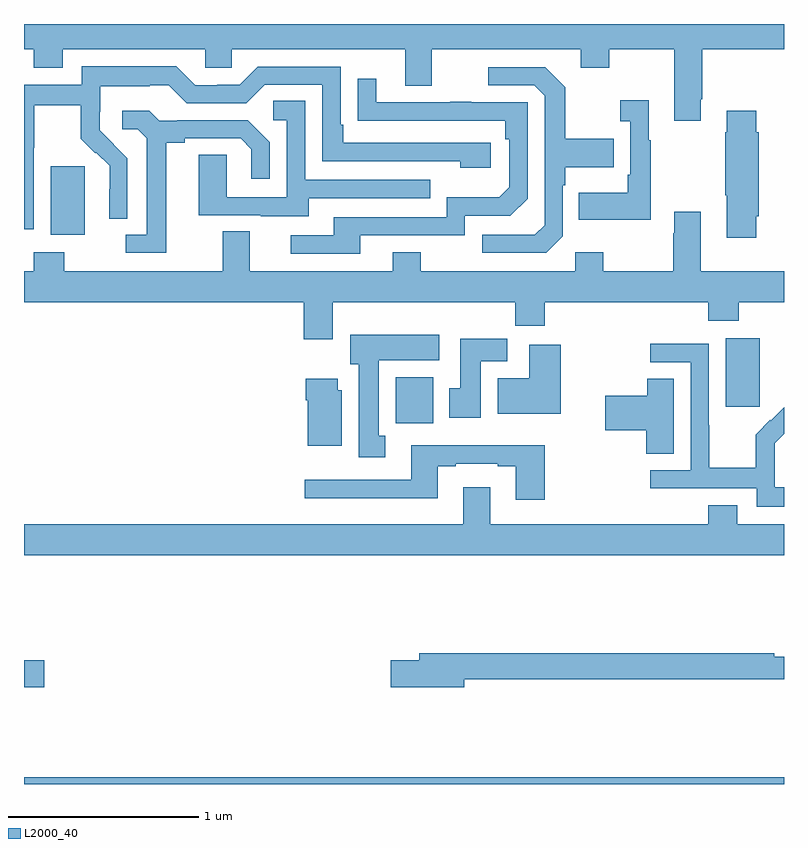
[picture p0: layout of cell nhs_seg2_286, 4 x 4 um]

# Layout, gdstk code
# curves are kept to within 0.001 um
import gdstk
lib = gdstk.Library(unit=1e-6, precision=1e-09)
def R(c, l, rs):  # rectangles x0, y0, x1, y1
    for r in rs: c.add(gdstk.rectangle(r[:2], r[2:], *l))
def P(c, l, *ps):  # polygons
    for p in ps: c.add(gdstk.Polygon(p, *l))
L2000_40 = (2000, 40)

nhs_seg2_286 = lib.new_cell('nhs_seg2_286')
R(nhs_seg2_286, L2000_40, [(125,611.8,129,611.836), (125,612.31,125.107,612.452), (126.956,613.7,127.153,613.942), (128.693,613.785,128.872,614.146), (125.141,614.69,125.32,615.051)])
P(nhs_seg2_286, L2000_40, [(128.563,615.403),(128.571,615.403),(128.571,615.668),(129,615.668),(129,615.8),(125,615.8),(125,615.668),(125.051,615.668),(125.051,615.569),(125.203,615.569),(125.203,615.668),(125.955,615.668),(125.955,615.57),(126.093,615.57),(126.093,615.668),(127.007,615.668),(127.007,615.474),(127.147,615.474),(127.147,615.668),(127.931,615.668),(127.931,615.569),(128.079,615.569),(128.079,615.668),(128.423,615.668),(128.423,615.291),(128.563,615.291)],
  [(125.052,615.148),(125.055,615.148),(125.055,615.372),(125.299,615.372),(125.299,615.197),(125.376,615.12),(125.379,615.123),(125.45,615.053),(125.45,614.93),(125.448,614.93),(125.448,614.776),(125.544,614.776),(125.544,615.094),(125.398,615.242),(125.398,615.339),(125.4,615.339),(125.4,615.473),(125.663,615.473),(125.663,615.477),(125.763,615.477),(125.856,615.384),(126.171,615.384),(126.267,615.48),(126.57,615.48),(126.57,615.078),(127.295,615.078),(127.295,615.044),(127.456,615.044),(127.456,615.174),(126.679,615.174),(126.679,615.271),(126.666,615.271),(126.666,615.576),(126.231,615.576),(126.135,615.48),(126.017,615.48),(126.017,615.477),(125.901,615.477),(125.801,615.577),(125.304,615.577),(125.304,615.48),(125,615.48),(125,614.719),(125.052,614.719)],
  [(127.836,614.682),(127.836,614.951),(127.849,614.951),(127.849,615.047),(128.105,615.047),(128.105,615.195),(127.849,615.195),(127.849,615.467),(127.743,615.573),(127.443,615.573),(127.443,615.477),(127.686,615.477),(127.74,615.423),(127.74,614.742),(127.689,614.691),(127.413,614.691),(127.413,614.595),(127.749,614.595)],
  [(126.769,614.688),(127.32,614.688),(127.32,614.79),(127.56,614.79),(127.65,614.88),(127.65,615.387),(127.355,615.387),(127.355,615.392),(127.243,615.392),(127.243,615.387),(126.853,615.387),(126.853,615.511),(126.757,615.511),(126.757,615.292),(127.534,615.291),(127.534,615.194),(127.554,615.194),(127.554,614.94),(127.501,614.887),(127.224,614.887),(127.224,614.784),(126.629,614.784),(126.629,614.688),(126.405,614.688),(126.405,614.592),(126.769,614.592)],
  [(128.299,615.187),(128.287,615.187),(128.287,615.4),(128.139,615.4),(128.139,615.287),(128.19,615.287),(128.19,615.007),(128.178,615.007),(128.178,614.911),(127.921,614.911),(127.921,614.771),(128.299,614.771)],
  [(126.499,614.883),(127.139,614.883),(127.139,614.979),(126.48,614.979),(126.48,615.395),(126.312,615.395),(126.312,615.294),(126.384,615.294),(126.384,614.889),(126.066,614.889),(126.066,615.113),(125.921,615.113),(125.921,614.793),(126.245,614.793),(126.245,614.789),(126.499,614.789)],
  [(125.749,615.176),(125.845,615.176),(125.845,615.198),(126.14,615.198),(126.197,615.141),(126.197,614.985),(126.294,614.985),(126.294,615.178),(126.178,615.294),(125.806,615.294),(125.806,615.291),(125.712,615.291),(125.66,615.343),(125.517,615.343),(125.517,615.246),(125.598,615.246),(125.645,615.199),(125.645,614.691),(125.535,614.691),(125.535,614.595),(125.749,614.595)],
  [(128.854,614.788),(128.867,614.788),(128.867,615.23),(128.854,615.23),(128.854,615.343),(128.699,615.343),(128.699,615.23),(128.692,615.23),(128.692,614.899),(128.699,614.899),(128.699,614.676),(128.854,614.676)],
  [(126.625,614.336),(127.585,614.336),(127.585,614.212),(127.742,614.212),(127.742,614.336),(128.602,614.336),(128.602,614.237),(128.763,614.237),(128.763,614.336),(129,614.336),(129,614.5),(128.563,614.5),(128.563,614.812),(128.423,614.812),(128.423,614.699),(128.416,614.699),(128.416,614.5),(128.049,614.5),(128.049,614.599),(127.902,614.599),(127.902,614.5),(127.089,614.5),(127.089,614.599),(126.941,614.599),(126.941,614.5),(126.187,614.5),(126.187,614.708),(126.047,614.708),(126.047,614.5),(125.211,614.5),(125.211,614.599),(125.051,614.599),(125.051,614.5),(125,614.5),(125,614.336),(126.473,614.336),(126.473,614.142),(126.625,614.142)],
  [(126.901,613.634),(126.868,613.634),(126.868,614.03),(127.186,614.03),(127.186,614.164),(126.716,614.164),(126.716,614.01),(126.761,614.01),(126.761,613.521),(126.901,613.521)],
  [(127.405,614.024),(127.544,614.024),(127.544,614.143),(127.295,614.143),(127.295,613.884),(127.238,613.884),(127.238,613.728),(127.405,613.728)],
  [(129,613.363),(128.952,613.363),(128.952,613.497),(128.95,613.497),(128.95,613.594),(129,613.644),(129,613.782),(128.931,613.713),(128.928,613.716),(128.851,613.639),(128.851,613.465),(128.607,613.465),(128.607,613.688),(128.604,613.688),(128.604,614.118),(128.295,614.118),(128.295,614.019),(128.508,614.019),(128.508,613.452),(128.295,613.452),(128.295,613.356),(128.856,613.356),(128.856,613.259),(129,613.259)],
  [(127.824,614.113),(127.658,614.113),(127.658,613.936),(127.493,613.936),(127.493,613.748),(127.824,613.748)],
  [(128.419,613.934),(128.281,613.934),(128.281,613.844),(128.058,613.844),(128.058,613.661),(128.276,613.661),(128.276,613.537),(128.419,613.537)],
  [(126.673,613.872),(126.652,613.872),(126.652,613.933),(126.482,613.933),(126.482,613.82),(126.494,613.82),(126.494,613.58),(126.673,613.58)],
  [(127.742,613.582),(127.037,613.582),(127.037,613.401),(126.477,613.401),(126.477,613.304),(127.177,613.304),(127.177,613.473),(127.273,613.473),(127.273,613.485),(127.493,613.485),(127.493,613.473),(127.589,613.473),(127.589,613.296),(127.742,613.296)],
  [(129,613.168),(128.755,613.168),(128.755,613.267),(128.602,613.267),(128.602,613.168),(127.453,613.168),(127.453,613.363),(127.313,613.363),(127.313,613.168),(125,613.168),(125,613.004),(129,613.004)],
  [(127.318,612.352),(129,612.352),(129,612.469),(128.948,612.469),(128.948,612.488),(127.079,612.488),(127.079,612.452),(126.93,612.452),(126.93,612.31),(127.318,612.31)])

lib.write_gds('nhs_seg2_286.gds')
